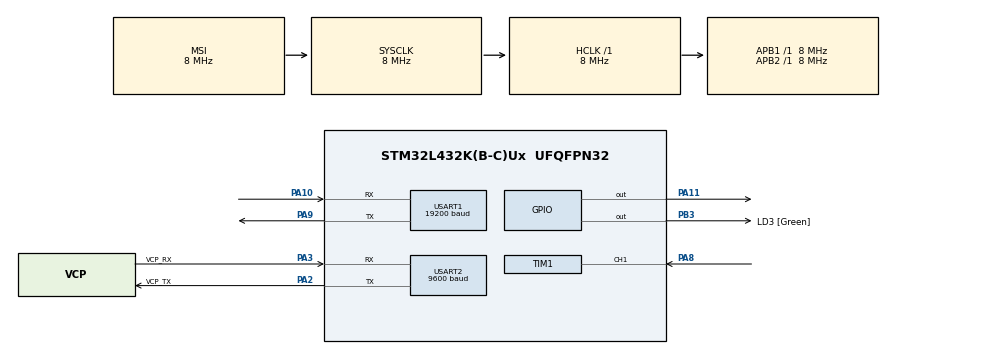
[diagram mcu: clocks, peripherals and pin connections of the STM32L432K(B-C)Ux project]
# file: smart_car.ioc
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Mcu.Family=STM32L4
Mcu.Name=STM32L432K(B-C)Ux
Mcu.Package=UFQFPN32
NVIC.PriorityGroup=NVIC_PRIORITYGROUP_4
NVIC.TIM1_BRK_TIM15_IRQn=true\:0\:0\:false\:false\:true\:true\:true
NVIC.TIM1_CC_IRQn=true\:2\:0\:true\:false\:true\:true\:true
NVIC.TIM1_TRG_COM_IRQn=true\:0\:0\:false\:false\:true\:true\:true
NVIC.TIM1_UP_TIM16_IRQn=true\:0\:0\:false\:false\:true\:true\:true
NVIC.USART2_IRQn=true\:0\:0\:false\:false\:true\:true\:true
PA0.GPIO_Label=MCO [High speed clock in]
PA0.Mode=HSE-External-Clock-Source-for-LittleOrca
PA0.Signal=RCC_CK_IN
PA10.Mode=Asynchronous
PA10.Signal=USART1_RX
PA11.Signal=GPIO_Output
PA13\ (JTMS-SWDIO).GPIO_Label=SWDIO
PA13\ (JTMS-SWDIO).Mode=Serial_Wire
PA13\ (JTMS-SWDIO).Signal=SYS_JTMS-SWDIO
PA14\ (JTCK-SWCLK).GPIO_Label=SWCLK
PA14\ (JTCK-SWCLK).Mode=Serial_Wire
PA14\ (JTCK-SWCLK).Signal=SYS_JTCK-SWCLK
PA2.GPIO_Label=VCP_TX
PA2.Mode=Asynchronous
PA2.Signal=USART2_TX
PA3.GPIO_Label=VCP_RX
PA3.Mode=Asynchronous
PA3.Signal=USART2_RX
PA8.Signal=S_TIM1_CH1
PA9.Mode=Asynchronous
PA9.Signal=USART1_TX
PB3\ (JTDO-TRACESWO).GPIO_Label=LD3 [Green]
PB3\ (JTDO-TRACESWO).Signal=GPIO_Output
PC14-OSC32_IN\ (PC14).Mode=LSE-External-Oscillator
PC14-OSC32_IN\ (PC14).Signal=RCC_OSC32_IN
PC15-OSC32_OUT\ (PC15).Mode=LSE-External-Oscillator
PC15-OSC32_OUT\ (PC15).Signal=RCC_OSC32_OUT
ProjectManager.HeapSize=0x200
ProjectManager.StackSize=0x400
ProjectManager.TargetToolchain=STM32CubeIDE
RCC.ADCFreq_Value=32000000
RCC.AHBFreq_Value=8000000
RCC.APB1Freq_Value=8000000
RCC.APB1TimFreq_Value=8000000
RCC.APB2Freq_Value=8000000
RCC.APB2TimFreq_Value=8000000
RCC.CortexFreq_Value=8000000
RCC.HCLKFreq_Value=8000000
RCC.HSE_VALUE=8000000
RCC.HSI16_VALUE=16000000
RCC.HSI48_VALUE=48000000
RCC.HSI_VALUE=16000000
RCC.MSIClockRange=RCC_MSIRANGE_7
RCC.MSI_VALUE=8000000
RCC.PLLMUL=RCC_PLLMUL_4
RCC.PLLN=16
RCC.SYSCLKFreq_VALUE=8000000
RCC.USBFreq_Value=32000000
RCC.VCOOutputFreq_Value=128000000
SH.S_TIM1_CH1.0=TIM1_CH1,Input_Capture1_from_TI1
TIM1.Channel-Input_Capture1_from_TI1=TIM_CHANNEL_1
TIM1.Period=9999
TIM1.Prescaler=7
USART1.BaudRate=19200
USART1.VirtualMode-Asynchronous=VM_ASYNC
USART2.BaudRate=9600
USART2.VirtualMode-Asynchronous=VM_ASYNC
VP_TIM1_VS_ClockSourceINT.Mode=Internal
board=NUCLEO-L432KC

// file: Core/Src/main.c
/* USER CODE BEGIN Header */
/**
  ******************************************************************************
  * @file           : main.c
  * @brief          : Main program body
  ******************************************************************************
  * @attention
  *
  * Copyright (c) 2022 STMicroelectronics.
  * All rights reserved.
  *
  * This software is licensed under terms that can be found in the LICENSE file
  * in the root directory of this software component.
  * If no LICENSE file comes with this software, it is provided AS-IS.
  *
  ******************************************************************************
  */
/* USER CODE END Header */
#include "main.h"

/* USER CODE BEGIN PTD */

#define RISING 1
#define FALLING 0

/* USER CODE END PTD */

TIM_HandleTypeDef htim1;

UART_HandleTypeDef huart1;
UART_HandleTypeDef huart2;

/* USER CODE BEGIN PV */

uint8_t fwd[] = {0xCA, 0x40, 0xC2, 0x40};
uint8_t bwd[] = {0xC1, 0x40, 0xC9, 0x40};
uint8_t left[] = {0xCA, 0x30, 0xC1, 0x30};
uint8_t right[] = {0xC9, 0x30, 0xC2, 0x30};
uint8_t stop[] = {0xC1, 0x00, 0xC9, 0x00};

char buff[4];
int flag = 0;
int  freq[] = { 261, 277, 293, 311, 329, 349, 369, 392, 415, 440, 466 };
int ps;

int capture = RISING;
volatile int distance = 0;
char print_distance[10];

/* USER CODE END PV */

void SystemClock_Config(void);
static void MX_GPIO_Init(void);
static void MX_USART2_UART_Init(void);
static void MX_USART1_UART_Init(void);
static void MX_TIM1_Init(void);

/* USER CODE BEGIN 0 */

void custom_delay(int sec){

	int i = 0;
	for (i = 0; i < sec / 10; i++ ){
		//HAL_Delay(1);

		HAL_GPIO_WritePin(GPIOA, GPIO_PIN_11, GPIO_PIN_SET);

		__HAL_TIM_SET_COUNTER( &htim1, 0 );
		while( __HAL_TIM_GET_COUNTER(&htim1) < 10 );

		HAL_GPIO_WritePin(GPIOA, GPIO_PIN_11, GPIO_PIN_RESET);

		HAL_TIM_IC_Start_IT(&htim1, TIM_CHANNEL_1);

		__HAL_TIM_SET_COUNTER( &htim1, 0 );
		while( __HAL_TIM_GET_COUNTER(&htim1) < 100 );

		if (distance < 20){
			HAL_GPIO_WritePin(GPIOB, GPIO_PIN_3, GPIO_PIN_SET);
			HAL_UART_Transmit(&huart1, &stop, 4, HAL_MAX_DELAY);
		}else{
			HAL_GPIO_WritePin(GPIOB, GPIO_PIN_3, GPIO_PIN_RESET);
		}

		HAL_Delay(10);
	}

}

/* USER CODE END 0 */

int main(void)
{

  /* MCU Configuration--------------------------------------------------------*/

  /* Reset of all peripherals, Initializes the Flash interface and the Systick. */
  HAL_Init();

  /* USER CODE BEGIN Init */

  ps = ( 8000 / freq[0] ) + 1;

  /* USER CODE END Init */

  /* Configure the system clock */
  SystemClock_Config();

  /* Initialize all configured peripherals */
  MX_GPIO_Init();
  MX_USART2_UART_Init();
  MX_USART1_UART_Init();
  MX_TIM1_Init();
  /* USER CODE BEGIN 2 */

  HAL_TIM_Base_Start(&htim1);
  HAL_GPIO_WritePin(GPIOA, GPIO_PIN_11, GPIO_PIN_RESET);
  __HAL_TIM_SET_COUNTER( &htim1, 0 );

  while( __HAL_TIM_GET_COUNTER(&htim1) < 10 );

//	__HAL_TIM_SetCompare(&htim1, TIM_CHANNEL_1, 49);
//	HAL_TIM_PWM_Start(&htim1,	TIM_CHANNEL_1);
	HAL_UART_Receive_IT( &huart2, buff, 4  );

  /* USER CODE END 2 */

  /* Infinite loop */
  while (1)
  {

    /* USER CODE BEGIN 3 */

//	  ps = ( 8000 / 200 ) + 1;
//	HAL_TIM_PWM_Start(&htim1,	TIM_CHANNEL_1);
//	__HAL_TIM_SET_PRESCALER(&htim1, ps );

	if (flag){
		int move_distance = buff[1] - '0';
		if (move_distance > 0 && move_distance <= 5 ){
			if (buff[0] == 'F'){
//				ps = ( 8000 / 200 ) + 1;
//				HAL_TIM_PWM_Start(&htim1,	TIM_CHANNEL_1);
//				__HAL_TIM_SET_PRESCALER(&htim1, ps );

				HAL_UART_Transmit(&huart1, &fwd, 4, HAL_MAX_DELAY);
				custom_delay(move_distance  * 1900);

//				HAL_TIM_PWM_Stop(&htim1,	TIM_CHANNEL_1);

			}else if (buff[0] == 'B'){
//				ps = ( 8000 / 250 ) + 1;
//				HAL_TIM_PWM_Start(&htim1,	TIM_CHANNEL_1);
//				__HAL_TIM_SET_PRESCALER(&htim1, ps );

				HAL_UART_Transmit(&huart1, &bwd, 4, HAL_MAX_DELAY);
				custom_delay(move_distance  * 1900);

//				HAL_TIM_PWM_Stop(&htim1,	TIM_CHANNEL_1);
			}else if (buff[0] == 'R'){

//				ps = ( 8000 / 300 ) + 1;
//				HAL_TIM_PWM_Start(&htim1,	TIM_CHANNEL_1);
//				__HAL_TIM_SET_PRESCALER(&htim1, ps );

				HAL_UART_Transmit(&huart1, &right, 4, HAL_MAX_DELAY);
				HAL_Delay(820);
				HAL_UART_Transmit(&huart1, &fwd, 4, HAL_MAX_DELAY);
				custom_delay(move_distance  * 1900);

//				HAL_TIM_PWM_Stop(&htim1,	TIM_CHANNEL_1);
			}else if (buff[0] == 'L'){

//				ps = ( 8000 / 350 ) + 1;
//				HAL_TIM_PWM_Start(&htim1,	TIM_CHANNEL_1);
//				__HAL_TIM_SET_PRESCALER(&htim1, ps );

				HAL_UART_Transmit(&huart1, &left, 4, HAL_MAX_DELAY);
				HAL_Delay(820);
				HAL_UART_Transmit(&huart1, &fwd, 4, HAL_MAX_DELAY);
				custom_delay(move_distance  * 1900);

//				HAL_TIM_PWM_Stop(&htim1,	TIM_CHANNEL_1);
			}
		}

		flag = 0;
		memset(buff, 0, 4);
		HAL_UART_Transmit(&huart1, &stop, 4, HAL_MAX_DELAY);
		HAL_Delay(100);

	}

//	HAL_GPIO_WritePin(GPIOA, GPIO_PIN_11, GPIO_PIN_SET);
//
//	__HAL_TIM_SET_COUNTER( &htim1, 0 );
//	while( __HAL_TIM_GET_COUNTER(&htim1) < 10 );
//
//	HAL_GPIO_WritePin(GPIOA, GPIO_PIN_11, GPIO_PIN_RESET);
//
//	HAL_TIM_IC_Start_IT(&htim1, TIM_CHANNEL_1);
//
//
//	__HAL_TIM_SET_COUNTER( &htim1, 0 );
//	while( __HAL_TIM_GET_COUNTER(&htim1) < 100 );

	sprintf( print_distance, "%d \r\n", distance );

	//HAL_UART_Transmit(&huart2, (unsigned char *)print_distance, sizeof(print_distance), HAL_MAX_DELAY);
	//HAL_UART_Transmit(&huart2, (unsigned char *)endl, sizeof(endl), HAL_MAX_DELAY);

//	HAL_Delay(10);
  }
  /* USER CODE END 3 */
}

void SystemClock_Config(void)
{
  RCC_OscInitTypeDef RCC_OscInitStruct = {0};
  RCC_ClkInitTypeDef RCC_ClkInitStruct = {0};

  /** Configure the main internal regulator output voltage
  */
  if (HAL_PWREx_ControlVoltageScaling(PWR_REGULATOR_VOLTAGE_SCALE1) != HAL_OK)
  {
    Error_Handler();
  }
  /** Configure LSE Drive Capability
  */
  HAL_PWR_EnableBkUpAccess();
  __HAL_RCC_LSEDRIVE_CONFIG(RCC_LSEDRIVE_LOW);
  /** Initializes the RCC Oscillators according to the specified parameters
  * in the RCC_OscInitTypeDef structure.
  */
  RCC_OscInitStruct.OscillatorType = RCC_OSCILLATORTYPE_LSE|RCC_OSCILLATORTYPE_MSI;
  RCC_OscInitStruct.LSEState = RCC_LSE_ON;
  RCC_OscInitStruct.MSIState = RCC_MSI_ON;
  RCC_OscInitStruct.MSICalibrationValue = 0;
  RCC_OscInitStruct.MSIClockRange = RCC_MSIRANGE_7;
  RCC_OscInitStruct.PLL.PLLState = RCC_PLL_NONE;
  if (HAL_RCC_OscConfig(&RCC_OscInitStruct) != HAL_OK)
  {
    Error_Handler();
  }
  /** Initializes the CPU, AHB and APB buses clocks
  */
  RCC_ClkInitStruct.ClockType = RCC_CLOCKTYPE_HCLK|RCC_CLOCKTYPE_SYSCLK
                              |RCC_CLOCKTYPE_PCLK1|RCC_CLOCKTYPE_PCLK2;
  RCC_ClkInitStruct.SYSCLKSource = RCC_SYSCLKSOURCE_MSI;
  RCC_ClkInitStruct.AHBCLKDivider = RCC_SYSCLK_DIV1;
  RCC_ClkInitStruct.APB1CLKDivider = RCC_HCLK_DIV1;
  RCC_ClkInitStruct.APB2CLKDivider = RCC_HCLK_DIV1;

  if (HAL_RCC_ClockConfig(&RCC_ClkInitStruct, FLASH_LATENCY_0) != HAL_OK)
  {
    Error_Handler();
  }
  /** Enable MSI Auto calibration
  */
  HAL_RCCEx_EnableMSIPLLMode();
}

static void MX_TIM1_Init(void)
{

  TIM_ClockConfigTypeDef sClockSourceConfig = {0};
  TIM_MasterConfigTypeDef sMasterConfig = {0};
  TIM_IC_InitTypeDef sConfigIC = {0};

  htim1.Instance = TIM1;
  htim1.Init.Prescaler = 7;
  htim1.Init.CounterMode = TIM_COUNTERMODE_UP;
  htim1.Init.Period = 9999;
  htim1.Init.ClockDivision = TIM_CLOCKDIVISION_DIV1;
  htim1.Init.RepetitionCounter = 0;
  htim1.Init.AutoReloadPreload = TIM_AUTORELOAD_PRELOAD_DISABLE;
  if (HAL_TIM_Base_Init(&htim1) != HAL_OK)
  {
    Error_Handler();
  }
  sClockSourceConfig.ClockSource = TIM_CLOCKSOURCE_INTERNAL;
  if (HAL_TIM_ConfigClockSource(&htim1, &sClockSourceConfig) != HAL_OK)
  {
    Error_Handler();
  }
  if (HAL_TIM_IC_Init(&htim1) != HAL_OK)
  {
    Error_Handler();
  }
  sMasterConfig.MasterOutputTrigger = TIM_TRGO_RESET;
  sMasterConfig.MasterOutputTrigger2 = TIM_TRGO2_RESET;
  sMasterConfig.MasterSlaveMode = TIM_MASTERSLAVEMODE_DISABLE;
  if (HAL_TIMEx_MasterConfigSynchronization(&htim1, &sMasterConfig) != HAL_OK)
  {
    Error_Handler();
  }
  sConfigIC.ICPolarity = TIM_INPUTCHANNELPOLARITY_RISING;
  sConfigIC.ICSelection = TIM_ICSELECTION_DIRECTTI;
  sConfigIC.ICPrescaler = TIM_ICPSC_DIV1;
  sConfigIC.ICFilter = 0;
  if (HAL_TIM_IC_ConfigChannel(&htim1, &sConfigIC, TIM_CHANNEL_1) != HAL_OK)
  {
    Error_Handler();
  }

}

static void MX_USART1_UART_Init(void)
{

  huart1.Instance = USART1;
  huart1.Init.BaudRate = 19200;
  huart1.Init.WordLength = UART_WORDLENGTH_8B;
  huart1.Init.StopBits = UART_STOPBITS_1;
  huart1.Init.Parity = UART_PARITY_NONE;
  huart1.Init.Mode = UART_MODE_TX_RX;
  huart1.Init.HwFlowCtl = UART_HWCONTROL_NONE;
  huart1.Init.OverSampling = UART_OVERSAMPLING_16;
  huart1.Init.OneBitSampling = UART_ONE_BIT_SAMPLE_DISABLE;
  huart1.AdvancedInit.AdvFeatureInit = UART_ADVFEATURE_NO_INIT;
  if (HAL_UART_Init(&huart1) != HAL_OK)
  {
    Error_Handler();
  }

}

static void MX_USART2_UART_Init(void)
{

  huart2.Instance = USART2;
  huart2.Init.BaudRate = 9600;
  huart2.Init.WordLength = UART_WORDLENGTH_8B;
  huart2.Init.StopBits = UART_STOPBITS_1;
  huart2.Init.Parity = UART_PARITY_NONE;
  huart2.Init.Mode = UART_MODE_TX_RX;
  huart2.Init.HwFlowCtl = UART_HWCONTROL_NONE;
  huart2.Init.OverSampling = UART_OVERSAMPLING_16;
  huart2.Init.OneBitSampling = UART_ONE_BIT_SAMPLE_DISABLE;
  huart2.AdvancedInit.AdvFeatureInit = UART_ADVFEATURE_NO_INIT;
  if (HAL_UART_Init(&huart2) != HAL_OK)
  {
    Error_Handler();
  }

}

static void MX_GPIO_Init(void)
{
  GPIO_InitTypeDef GPIO_InitStruct = {0};

  /* GPIO Ports Clock Enable */
  __HAL_RCC_GPIOC_CLK_ENABLE();
  __HAL_RCC_GPIOA_CLK_ENABLE();
  __HAL_RCC_GPIOB_CLK_ENABLE();

  /*Configure GPIO pin Output Level */
  HAL_GPIO_WritePin(GPIOA, GPIO_PIN_11, GPIO_PIN_RESET);

  /*Configure GPIO pin Output Level */
  HAL_GPIO_WritePin(LD3_GPIO_Port, LD3_Pin, GPIO_PIN_RESET);

  /*Configure GPIO pin : PA11 */
  GPIO_InitStruct.Pin = GPIO_PIN_11;
  GPIO_InitStruct.Mode = GPIO_MODE_OUTPUT_PP;
  GPIO_InitStruct.Pull = GPIO_NOPULL;
  GPIO_InitStruct.Speed = GPIO_SPEED_FREQ_LOW;
  HAL_GPIO_Init(GPIOA, &GPIO_InitStruct);

  /*Configure GPIO pin : LD3_Pin */
  GPIO_InitStruct.Pin = LD3_Pin;
  GPIO_InitStruct.Mode = GPIO_MODE_OUTPUT_PP;
  GPIO_InitStruct.Pull = GPIO_NOPULL;
  GPIO_InitStruct.Speed = GPIO_SPEED_FREQ_LOW;
  HAL_GPIO_Init(LD3_GPIO_Port, &GPIO_InitStruct);

}

/* USER CODE BEGIN 4 */

void HAL_UART_RxCpltCallback(UART_HandleTypeDef *huart)
{
	if ( huart ==  &huart2 ){
		//HAL_GPIO_TogglePin( GPIOB, GPIO_PIN_3 );
		flag = 1;
		HAL_UART_Receive_IT( &huart2, buff, 4  );
	}
}

/* USER CODE END 4 */

void Error_Handler(void)
{
  __disable_irq();
  while (1)
  {
  }
}
